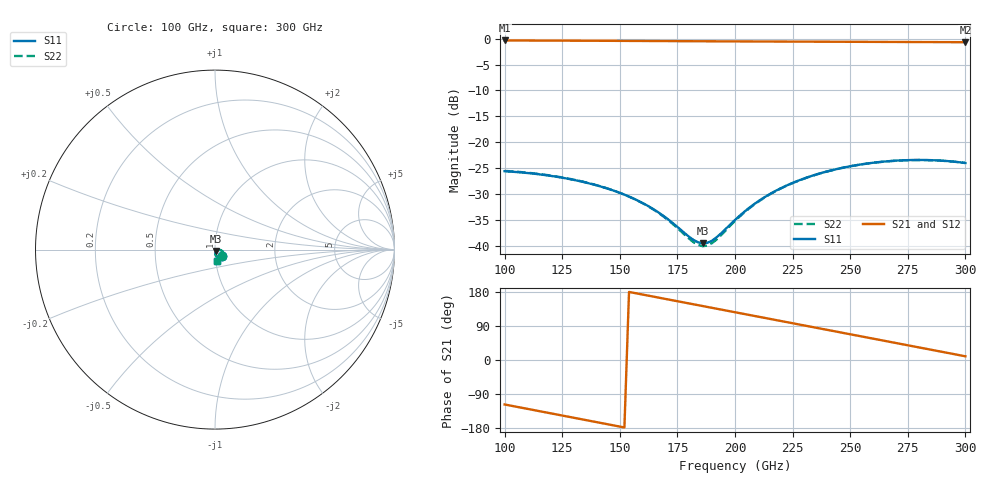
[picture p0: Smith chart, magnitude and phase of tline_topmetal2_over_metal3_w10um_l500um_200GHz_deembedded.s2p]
! Created with skrf 2.2.0 (http://scikit-rf.org).
# GHz S DB R 50.0
! Port[1] = P1
! Port[2] = P2
!freq dBS11 angS11 dBS21 angS21 dBS12 angS12 dBS22 angS22
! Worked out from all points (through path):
!   101 points, 100 GHz to 300 GHz, reference 50 ohm
!   highest |S21| = -0.36 dB at 100 GHz (marker M1); lowest = -0.7 dB at 300 GHz (marker M2)
!   group delay of S21, straight-line fit = 3.23 ps
!   lowest |S11| = -39.5 dB at 186 GHz (marker M3), VSWR 1.02, Z = 50.7 - j0.783 ohm
!   |S11| at or under -10 dB: start of sweep to end of sweep
!   |S22| runs from -40.0 to -23.4 dB; largest |S21 - S12| = 1.1e-14
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100  -25.57 -43.0  -0.36 -117.4  -0.36 -117.4  -25.51 -44.4
108  -25.83 -49.7  -0.37 -126.7  -0.37 -126.7  -25.77 -51.2
118  -26.34 -57.8  -0.38 -138.4  -0.38 -138.4  -26.28 -59.5
134  -27.62 -70.0  -0.41 -157.0  -0.41 -157.0  -27.58 -72.1
144  -28.82 -76.9  -0.43 -168.7  -0.43 -168.7  -28.80 -79.1
152  -30.08 -81.4  -0.44 -178.1  -0.44 -178.1  -30.09 -83.8
160  -31.72 -84.6  -0.46 172.6  -0.46 172.6  -31.76 -87.2
168  -33.88 -84.8  -0.47 163.3  -0.47 163.3  -33.98 -87.7
182  -38.82 -62.9  -0.50 147.0  -0.50 147.0  -39.25 -65.6
186  -39.48 -46.7  -0.51 142.3  -0.51 142.3  -40.02 -48.2
190  -38.96 -29.5  -0.52 137.7  -0.52 137.7  -39.44 -29.7
200  -34.97 -6.7  -0.54 126.1  -0.54 126.1  -35.16 -6.2
208  -32.01 -4.0  -0.55 116.8  -0.55 116.8  -32.11 -3.7
216  -29.75 -6.5  -0.57 107.5  -0.57 107.5  -29.81 -6.5
226  -27.64 -12.8  -0.58 95.9  -0.58 95.9  -27.67 -13.0
234  -26.37 -19.0  -0.59 86.5  -0.59 86.5  -26.39 -19.2
242  -25.37 -25.7  -0.60 77.2  -0.60 77.2  -25.40 -25.9
250  -24.61 -32.7  -0.62 67.9  -0.62 67.9  -24.63 -32.9
258  -24.04 -40.0  -0.63 58.6  -0.63 58.6  -24.06 -40.1
268  -23.59 -49.2  -0.65 47.0  -0.65 47.0  -23.61 -49.2
284  -23.42 -64.1  -0.67 28.4  -0.67 28.4  -23.44 -63.8
300  -23.98 -78.7  -0.69 9.8  -0.69 9.8  -23.99 -78.0
